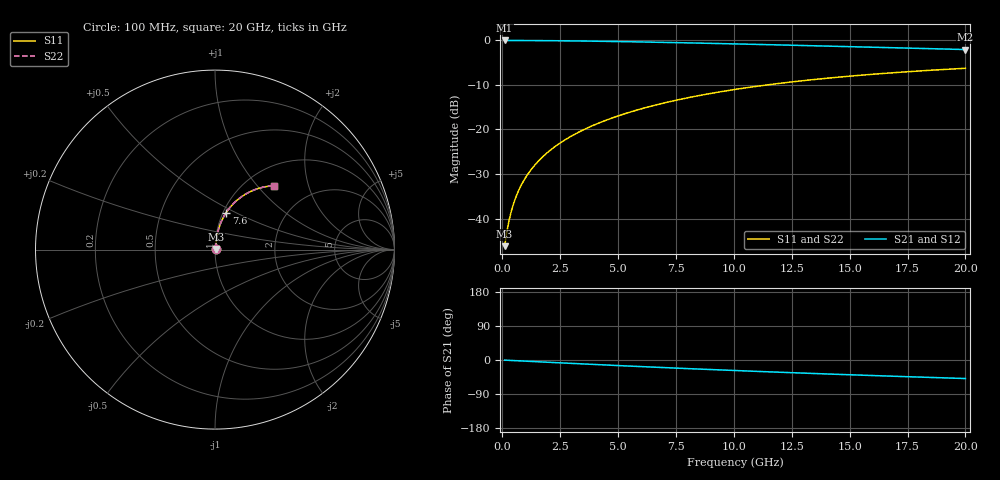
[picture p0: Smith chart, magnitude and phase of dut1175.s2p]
! Touchstone file exported from HFSS 2024.1.0
!  File:  C:/UserFiles/LocalFiles/RDL_TSV_Batchsim/temp_RDL_top_1175_1780049023.aedt
!  Generated:  06:06:03 PM May 29, 2026
!  Design:  RDL_top
!  Project:  temp_RDL_top_1175_1780049023
!  Setup:  Setup1
!  Solution:  Sweep
! Variables:
!  dtsv = 10.80580581um
!  hbump = 3um
!  htsv = 56.68um
!  ldown = 100um
!  lrdl = 651.72um
!  p = 40
!  p1 = 58.28um
!  rhole = 1um
!  t = 450um
!  tdown = 3.915915916um
!  trdl = 3.36um
!  wdown = 15.38538539um
!  wrdl = 18.38um
# GHz S MA R 50.000000
! Terminal data exported
! Port[1] = Box2_T1
! Port[2] = Box2_T2
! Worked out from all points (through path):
!   200 points, 100 MHz to 20 GHz, reference 50 ohm
!   highest |S21| = -0.03 dB at 100 MHz (marker M1); lowest = -2.1 dB at 20 GHz (marker M2)
!   group delay of S21, straight-line fit = 6.76 ps
!   lowest |S11| = -46.2 dB at 100 MHz (marker M3), VSWR 1.01, Z = 50.4 + j0.3 ohm
!   |S11| at or under -10 dB: start of sweep to 11.46 GHz
!   |S22| runs from -46.2 to -6.3 dB; largest |S21 - S12| = 1.5e-14
!   S11 on the Smith chart (normalised r, x): 100 MHz: 1.01, +0.01; 7.6 GHz: 1.03, +0.45; 20 GHz: 1.33, +1.24
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0.1  0.004895 37.4  0.9961 -0.3  0.9961 -0.3  0.004895 37.4
! Gamma 0 0 0 0
! Port Impedance 50 0 50 0
0.2  0.007143 55.7  0.996 -0.6  0.996 -0.6  0.007143 55.7
0.3  0.009716 64.4  0.9958 -0.9  0.9958 -0.9  0.009716 64.4
0.4  0.01237 69.2  0.9956 -1.2  0.9956 -1.2  0.01237 69.2
0.5  0.01505 72.4  0.9953 -1.5  0.9953 -1.5  0.01505 72.4
0.6  0.01775 74.5  0.9951 -1.8  0.9951 -1.8  0.01775 74.5
0.8  0.02318 77.3  0.9947 -2.4  0.9947 -2.4  0.02318 77.3
1.1  0.03139 79.6  0.9939 -3.4  0.9939 -3.4  0.03139 79.6
1.5  0.04246 81.1  0.9926 -4.6  0.9926 -4.6  0.04246 81.1
1.8  0.05082 81.5  0.9914 -5.4  0.9914 -5.4  0.05081 81.5
2.1  0.05921 81.7  0.99 -6.3  0.99 -6.3  0.05921 81.7
2.7  0.07612 81.6  0.9867 -8.1  0.9867 -8.1  0.07611 81.6
3.5  0.09883 80.9  0.9813 -10.4  0.9813 -10.4  0.09882 80.9
4.2  0.1188 79.9  0.9758 -12.5  0.9758 -12.5  0.1188 79.9
5  0.1417 78.5  0.9686 -14.7  0.9686 -14.7  0.1417 78.5
5.9  0.1674 76.8  0.9597 -17.2  0.9597 -17.2  0.1674 76.8
6.8  0.1929 74.9  0.95 -19.6  0.95 -19.6  0.1929 74.9
7.6  0.2152 73.2  0.941 -21.7  0.941 -21.7  0.2152 73.2
10.1  0.2822 67.6  0.911 -27.9  0.911 -27.9  0.2822 67.6
13.4  0.3617 60.3  0.8693 -35.5  0.8693 -35.5  0.3616 60.3
16.7  0.4293 53.4  0.8276 -42.5  0.8276 -42.5  0.4292 53.4
20  0.4853 47.1  0.7876 -48.9  0.7876 -48.9  0.4853 47.1
